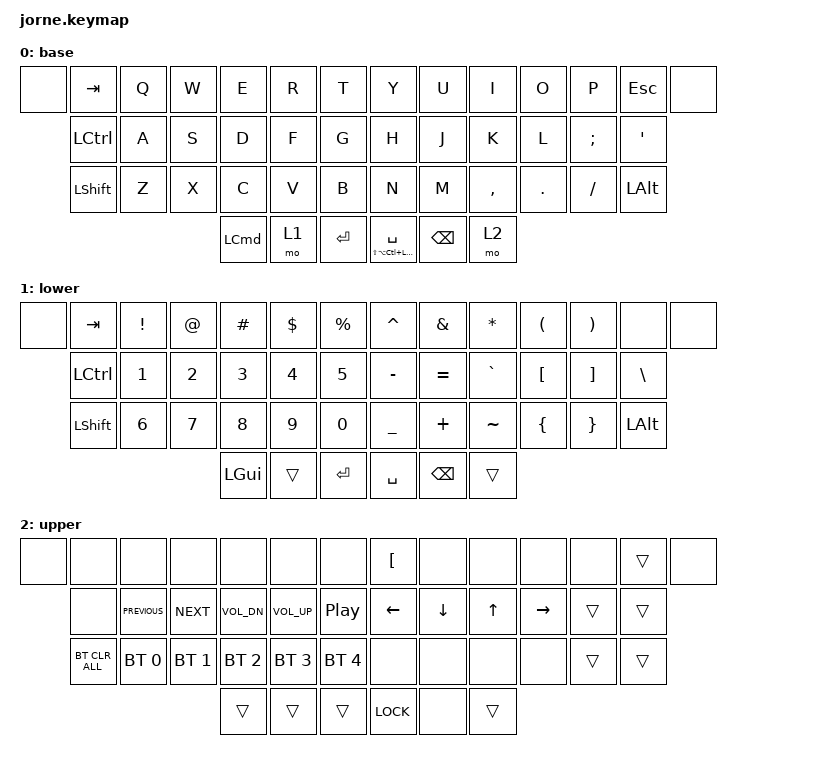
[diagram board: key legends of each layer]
/*
 * Copyright (c) 2020 The ZMK Contributors
 *
 * SPDX-License-Identifier: MIT
 */

#include <behaviors.dtsi>
#include <dt-bindings/zmk/bt.h>
#include <dt-bindings/zmk/keys.h>

/ {
    combos { compatible = "zmk,combos"; };

    keymap {
        compatible = "zmk,keymap";

        base {
            // Jorne: 44 keys (positions 0 and 13 are extra outer keys, not present physically)
            // -----------------------------------------------------------------------------------------
            // | x |  ESC |  Q  |  W  |  E  |  R  |  T  |   |  Y  |  U   |  I  |  O  |  P  | BKSP | x |
            //     | TAB  |  A  |  S  |  D  |  F  |  G  |   |  H  |  J   |  K  |  L  |  '  |  '   |
            //     | SHFT |  Z  |  X  |  C  |  V  |  B  |   |  N  |  M   |  ,  |  .  |  /  | SHFT |
            //                        | GUI | LWR | SPC |   | ENT | RSE  | ALT |

            bindings = <
&none  &kp TAB         &kp Q  &kp W  &kp E             &kp R  &kp T      &kp Y                           &kp U     &kp I      &kp O    &kp P     &kp ESC           &none
       &kp LCTRL       &kp A  &kp S  &kp D             &kp F  &kp G      &kp H                           &kp J     &kp K      &kp L    &kp SEMI  &kp SINGLE_QUOTE
       &kp LEFT_SHIFT  &kp Z  &kp X  &kp C             &kp V  &kp B      &kp N                           &kp M     &kp COMMA  &kp DOT  &kp FSLH  &kp LALT
                                     &kp LEFT_COMMAND  &mo 1  &kp RET    &mt LS(LA(LC(LEFT_GUI))) SPACE  &kp BSPC  &mo 2
            >;
        };

        lower {
            bindings = <
&none  &kp TAB    &kp EXCLAMATION  &kp AT_SIGN  &kp POUND  &kp DOLLAR  &kp PERCENT    &kp CARET       &kp AMPERSAND  &kp ASTERISK  &kp LEFT_PARENTHESIS  &kp RIGHT_PARENTHESIS  &none          &none
       &kp LCTRL  &kp N1           &kp N2       &kp N3     &kp N4      &kp N5         &kp MINUS       &kp EQUAL      &kp GRAVE     &kp LBKT              &kp RBKT               &kp BACKSLASH
       &kp LSHFT  &kp N6           &kp N7       &kp N8     &kp N9      &kp N0         &kp UNDERSCORE  &kp PLUS       &kp TILDE     &kp LEFT_BRACE        &kp RIGHT_BRACE        &kp LALT
                                                &kp LGUI   &trans      &kp RET        &kp SPACE       &kp BSPC       &trans
            >;
        };

        upper {
            bindings = <
&none  &none           &none           &none         &none         &none            &none               &kp LEFT_BRACKET  &none     &none   &none      &none   &trans  &none
       &none           &kp C_PREVIOUS  &kp C_NEXT    &kp C_VOL_DN  &kp C_VOLUME_UP  &kp C_PLAY_PAUSE    &kp LEFT          &kp DOWN  &kp UP  &kp RIGHT  &trans  &trans
       &bt BT_CLR_ALL  &bt BT_SEL 0    &bt BT_SEL 1  &bt BT_SEL 2  &bt BT_SEL 3     &bt BT_SEL 4        &none             &none     &none   &none      &trans  &trans
                                                     &trans        &trans           &trans              &kp K_LOCK        &none     &trans
            >;
        };
    };
};
